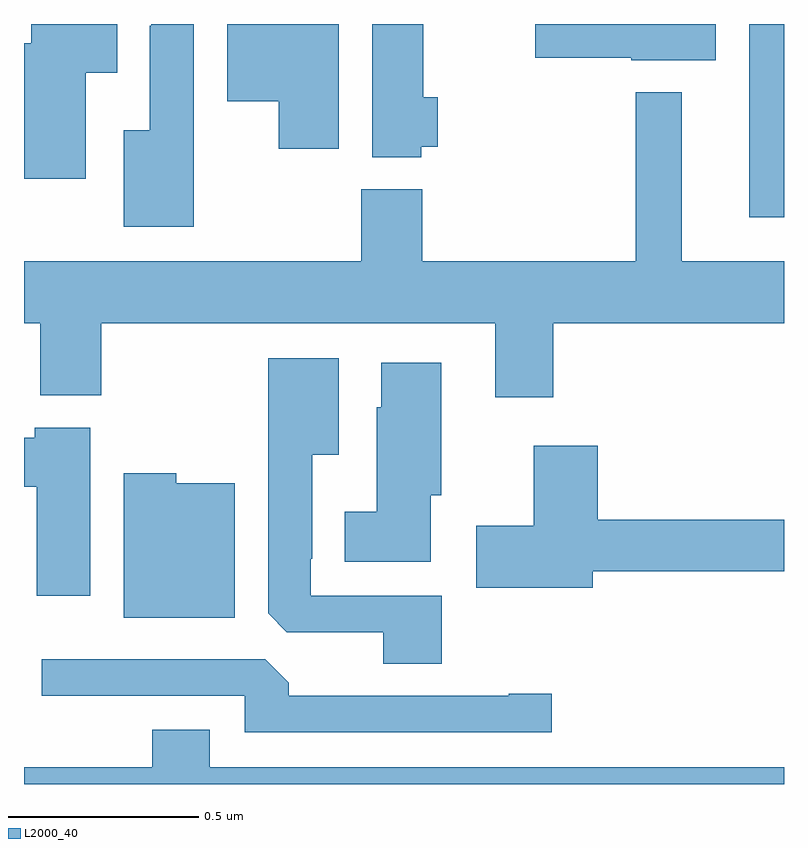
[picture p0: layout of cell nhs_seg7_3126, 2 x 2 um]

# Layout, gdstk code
import gdstk
lib = gdstk.Library(unit=1e-6, precision=1e-09)
def R(c, l, rs):  # rectangles x0, y0, x1, y1
    for r in rs: c.add(gdstk.rectangle(r[:2], r[2:], *l))
def P(c, l, *ps):  # polygons
    for p in ps: c.add(gdstk.Polygon(p, *l))
L2000_40 = (2000, 40)

nhs_seg7_3126 = lib.new_cell('nhs_seg7_3126')
R(nhs_seg7_3126, L2000_40, [(155.909,1071.491,156,1072)])
P(nhs_seg7_3126, L2000_40, [(155.046,1071.677),(155.089,1071.677),(155.089,1071.807),(155.05,1071.807),(155.05,1072),(154.916,1072),(154.916,1071.65),(155.046,1071.65)],
  [(155.821,1072),(155.346,1072),(155.346,1071.911),(155.598,1071.911),(155.598,1071.905),(155.821,1071.905)],
  [(154.162,1071.872),(154.246,1071.872),(154.246,1072),(154.019,1072),(154.019,1071.949),(154,1071.949),(154,1071.593),(154.162,1071.593)],
  [(154.447,1072),(154.335,1072),(154.335,1071.995),(154.331,1071.995),(154.331,1071.721),(154.262,1071.721),(154.262,1071.467),(154.447,1071.467)],
  [(154.828,1072),(154.535,1072),(154.535,1071.797),(154.67,1071.797),(154.67,1071.672),(154.828,1071.672)],
  [(155.393,1071.212),(156,1071.212),(156,1071.376),(155.731,1071.376),(155.731,1071.82),(155.61,1071.82),(155.61,1071.376),(155.048,1071.376),(155.048,1071.565),(154.888,1071.565),(154.888,1071.376),(154,1071.376),(154,1071.212),(154.043,1071.212),(154.043,1071.023),(154.203,1071.023),(154.203,1071.212),(155.24,1071.212),(155.24,1071.018),(155.393,1071.018)],
  [(155.099,1070.496),(154.755,1070.496),(154.755,1070.593),(154.759,1070.593),(154.759,1070.867),(154.828,1070.867),(154.828,1071.121),(154.643,1071.121),(154.643,1070.449),(154.692,1070.4),(154.946,1070.4),(154.946,1070.317),(155.099,1070.317)],
  [(155.071,1070.76),(155.098,1070.76),(155.098,1071.109),(154.94,1071.109),(154.94,1070.991),(154.928,1070.991),(154.928,1070.716),(154.844,1070.716),(154.844,1070.585),(155.071,1070.585)],
  [(154.174,1070.938),(154.028,1070.938),(154.028,1070.911),(154,1070.911),(154,1070.782),(154.033,1070.782),(154.033,1070.496),(154.174,1070.496)],
  [(155.497,1070.56),(156,1070.56),(156,1070.696),(155.51,1070.696),(155.51,1070.89),(155.342,1070.89),(155.342,1070.679),(155.19,1070.679),(155.19,1070.516),(155.497,1070.516)],
  [(154.555,1070.791),(154.401,1070.791),(154.401,1070.818),(154.262,1070.818),(154.262,1070.438),(154.555,1070.438)],
  [(155.389,1070.237),(155.276,1070.237),(155.276,1070.232),(154.697,1070.232),(154.697,1070.266),(154.635,1070.328),(154.047,1070.328),(154.047,1070.232),(154.581,1070.232),(154.581,1070.136),(155.389,1070.136)],
  [(156,1070.044),(154.489,1070.044),(154.489,1070.143),(154.337,1070.143),(154.337,1070.044),(154,1070.044),(154,1070),(156,1070)])

lib.write_gds('nhs_seg7_3126.gds')
